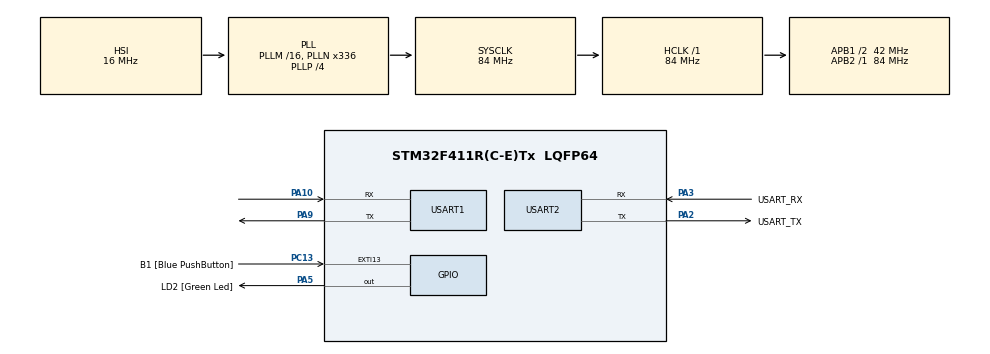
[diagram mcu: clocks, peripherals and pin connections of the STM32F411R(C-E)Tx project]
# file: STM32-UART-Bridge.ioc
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Mcu.Family=STM32F4
Mcu.Name=STM32F411R(C-E)Tx
Mcu.Package=LQFP64
NVIC.PriorityGroup=NVIC_PRIORITYGROUP_0
NVIC.USART2_IRQn=true\:0\:0\:false\:false\:true\:true\:true\:true
PA10.Mode=Asynchronous
PA10.Signal=USART1_RX
PA13.GPIO_Label=TMS
PA13.Mode=Serial_Wire
PA13.Signal=SYS_JTMS-SWDIO
PA14.GPIO_Label=TCK
PA14.Mode=Serial_Wire
PA14.Signal=SYS_JTCK-SWCLK
PA2.GPIO_Label=USART_TX
PA2.Mode=Asynchronous
PA2.Signal=USART2_TX
PA3.GPIO_Label=USART_RX
PA3.Mode=Asynchronous
PA3.Signal=USART2_RX
PA5.GPIO_Label=LD2 [Green Led]
PA5.Signal=GPIO_Output
PA9.Mode=Asynchronous
PA9.Signal=USART1_TX
PB3.GPIO_Label=SWO
PB3.Signal=SYS_JTDO-SWO
PC13-ANTI_TAMP.GPIO_Label=B1 [Blue PushButton]
PC13-ANTI_TAMP.GPIO_ModeDefaultEXTI=GPIO_MODE_IT_FALLING
PC13-ANTI_TAMP.Signal=GPXTI13
PC14-OSC32_IN.Mode=LSE-External-Oscillator
PC14-OSC32_IN.Signal=RCC_OSC32_IN
PC15-OSC32_OUT.Mode=LSE-External-Oscillator
PC15-OSC32_OUT.Signal=RCC_OSC32_OUT
PH0\ -\ OSC_IN.Mode=HSE-External-Clock-Source
PH0\ -\ OSC_IN.Signal=RCC_OSC_IN
PH1\ -\ OSC_OUT.Mode=HSE-External-Clock-Source
PH1\ -\ OSC_OUT.Signal=RCC_OSC_OUT
ProjectManager.HeapSize=0x200
ProjectManager.StackSize=0x400
ProjectManager.TargetToolchain=STM32CubeIDE
RCC.48MHZClocksFreq_Value=84000000
RCC.AHBFreq_Value=84000000
RCC.APB1CLKDivider=RCC_HCLK_DIV2
RCC.APB1Freq_Value=42000000
RCC.APB1TimFreq_Value=84000000
RCC.APB2Freq_Value=84000000
RCC.APB2TimFreq_Value=84000000
RCC.CortexFreq_Value=84000000
RCC.FLatency-AdvancedSettings=FLASH_LATENCY_2
RCC.HCLKFreq_Value=84000000
RCC.HSE_VALUE=8000000
RCC.HSI_VALUE=16000000
RCC.PLLN=336
RCC.PLLP=RCC_PLLP_DIV4
RCC.SYSCLKFreq_VALUE=84000000
RCC.SYSCLKSource=RCC_SYSCLKSOURCE_PLLCLK
RCC.VCOOutputFreq_Value=336000000
USART1.VirtualMode=VM_ASYNC
USART2.VirtualMode=VM_ASYNC
board=NUCLEO-F411RE

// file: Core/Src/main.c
/* USER CODE BEGIN Header */
/**
  ******************************************************************************
  * @file           : main.c
  * @brief          : Main program body
  ******************************************************************************
  * @attention
  *
  * Copyright (c) 2026 STMicroelectronics.
  * All rights reserved.
  *
  * This software is licensed under terms that can be found in the LICENSE file
  * in the root directory of this software component.
  * If no LICENSE file comes with this software, it is provided AS-IS.
  *
  ******************************************************************************
  */
/* USER CODE END Header */
#include "main.h"

UART_HandleTypeDef huart1;
UART_HandleTypeDef huart2;

/* USER CODE BEGIN PV */

#define RX_BUFFER_SIZE 64

volatile uint8_t rx_buffer[RX_BUFFER_SIZE];
volatile uint16_t rx_head = 0;
volatile uint16_t rx_tail = 0;

uint8_t rx_byte;

/* USER CODE END PV */

void SystemClock_Config(void);
static void MX_GPIO_Init(void);
static void MX_USART2_UART_Init(void);
static void MX_USART1_UART_Init(void);

int main(void)
{

  /* MCU Configuration--------------------------------------------------------*/

  /* Reset of all peripherals, Initializes the Flash interface and the Systick. */
  HAL_Init();

  /* Configure the system clock */
  SystemClock_Config();

  /* Initialize all configured peripherals */
  MX_GPIO_Init();
  MX_USART2_UART_Init();
  MX_USART1_UART_Init();
  /* USER CODE BEGIN 2 */

  uint8_t start_msg[] = "\r\nEcho-Server lauscht...\r\n";
  HAL_UART_Transmit(&huart2, start_msg, sizeof(start_msg) - 1, 100);
  HAL_UART_Receive_IT(&huart2, &rx_byte, 1);

  uint32_t last_blink = HAL_GetTick();

  /* USER CODE END 2 */

  /* Infinite loop */
  while (1)
  {

    /* USER CODE BEGIN 3 */
	  if(rx_head != rx_tail)
	  {
		  uint8_t byte_to_send = rx_buffer[rx_tail];
		  rx_tail = (rx_tail + 1) % RX_BUFFER_SIZE;

		  HAL_UART_Transmit(&huart2, &byte_to_send, 1, 10);
		  HAL_UART_Transmit(&huart1, &byte_to_send, 1, 10);
	  }

	  if(HAL_GetTick() - last_blink > 500)
	  {
		  HAL_GPIO_TogglePin(GPIOA, GPIO_PIN_5);
		  last_blink = HAL_GetTick();
	  }

  }
  /* USER CODE END 3 */
}

void SystemClock_Config(void)
{
  RCC_OscInitTypeDef RCC_OscInitStruct = {0};
  RCC_ClkInitTypeDef RCC_ClkInitStruct = {0};

  /** Configure the main internal regulator output voltage
  */
  __HAL_RCC_PWR_CLK_ENABLE();
  __HAL_PWR_VOLTAGESCALING_CONFIG(PWR_REGULATOR_VOLTAGE_SCALE1);

  /** Initializes the RCC Oscillators according to the specified parameters
  * in the RCC_OscInitTypeDef structure.
  */
  RCC_OscInitStruct.OscillatorType = RCC_OSCILLATORTYPE_HSI;
  RCC_OscInitStruct.HSIState = RCC_HSI_ON;
  RCC_OscInitStruct.HSICalibrationValue = RCC_HSICALIBRATION_DEFAULT;
  RCC_OscInitStruct.PLL.PLLState = RCC_PLL_ON;
  RCC_OscInitStruct.PLL.PLLSource = RCC_PLLSOURCE_HSI;
  RCC_OscInitStruct.PLL.PLLM = 16;
  RCC_OscInitStruct.PLL.PLLN = 336;
  RCC_OscInitStruct.PLL.PLLP = RCC_PLLP_DIV4;
  RCC_OscInitStruct.PLL.PLLQ = 4;
  if (HAL_RCC_OscConfig(&RCC_OscInitStruct) != HAL_OK)
  {
    Error_Handler();
  }

  /** Initializes the CPU, AHB and APB buses clocks
  */
  RCC_ClkInitStruct.ClockType = RCC_CLOCKTYPE_HCLK|RCC_CLOCKTYPE_SYSCLK
                              |RCC_CLOCKTYPE_PCLK1|RCC_CLOCKTYPE_PCLK2;
  RCC_ClkInitStruct.SYSCLKSource = RCC_SYSCLKSOURCE_PLLCLK;
  RCC_ClkInitStruct.AHBCLKDivider = RCC_SYSCLK_DIV1;
  RCC_ClkInitStruct.APB1CLKDivider = RCC_HCLK_DIV2;
  RCC_ClkInitStruct.APB2CLKDivider = RCC_HCLK_DIV1;

  if (HAL_RCC_ClockConfig(&RCC_ClkInitStruct, FLASH_LATENCY_2) != HAL_OK)
  {
    Error_Handler();
  }
}

static void MX_USART1_UART_Init(void)
{

  huart1.Instance = USART1;
  huart1.Init.BaudRate = 115200;
  huart1.Init.WordLength = UART_WORDLENGTH_8B;
  huart1.Init.StopBits = UART_STOPBITS_1;
  huart1.Init.Parity = UART_PARITY_NONE;
  huart1.Init.Mode = UART_MODE_TX_RX;
  huart1.Init.HwFlowCtl = UART_HWCONTROL_NONE;
  huart1.Init.OverSampling = UART_OVERSAMPLING_16;
  if (HAL_UART_Init(&huart1) != HAL_OK)
  {
    Error_Handler();
  }

}

static void MX_USART2_UART_Init(void)
{

  huart2.Instance = USART2;
  huart2.Init.BaudRate = 115200;
  huart2.Init.WordLength = UART_WORDLENGTH_8B;
  huart2.Init.StopBits = UART_STOPBITS_1;
  huart2.Init.Parity = UART_PARITY_NONE;
  huart2.Init.Mode = UART_MODE_TX_RX;
  huart2.Init.HwFlowCtl = UART_HWCONTROL_NONE;
  huart2.Init.OverSampling = UART_OVERSAMPLING_16;
  if (HAL_UART_Init(&huart2) != HAL_OK)
  {
    Error_Handler();
  }

}

static void MX_GPIO_Init(void)
{
  GPIO_InitTypeDef GPIO_InitStruct = {0};

  /* GPIO Ports Clock Enable */
  __HAL_RCC_GPIOC_CLK_ENABLE();
  __HAL_RCC_GPIOH_CLK_ENABLE();
  __HAL_RCC_GPIOA_CLK_ENABLE();
  __HAL_RCC_GPIOB_CLK_ENABLE();

  /*Configure GPIO pin Output Level */
  HAL_GPIO_WritePin(LD2_GPIO_Port, LD2_Pin, GPIO_PIN_RESET);

  /*Configure GPIO pin : B1_Pin */
  GPIO_InitStruct.Pin = B1_Pin;
  GPIO_InitStruct.Mode = GPIO_MODE_IT_FALLING;
  GPIO_InitStruct.Pull = GPIO_NOPULL;
  HAL_GPIO_Init(B1_GPIO_Port, &GPIO_InitStruct);

  /*Configure GPIO pin : LD2_Pin */
  GPIO_InitStruct.Pin = LD2_Pin;
  GPIO_InitStruct.Mode = GPIO_MODE_OUTPUT_PP;
  GPIO_InitStruct.Pull = GPIO_NOPULL;
  GPIO_InitStruct.Speed = GPIO_SPEED_FREQ_LOW;
  HAL_GPIO_Init(LD2_GPIO_Port, &GPIO_InitStruct);

}

/* USER CODE BEGIN 4 */

void HAL_UART_RxCpltCallback(UART_HandleTypeDef *huart)
{
	if(huart->Instance == USART2)
	{
		rx_buffer[rx_head] = rx_byte;
		rx_head = (rx_head + 1) % RX_BUFFER_SIZE;
		HAL_UART_Receive_IT(&huart2, &rx_byte, 1);
	}
}

/* USER CODE END 4 */

void Error_Handler(void)
{
  __disable_irq();
  while (1)
  {
  }
}
